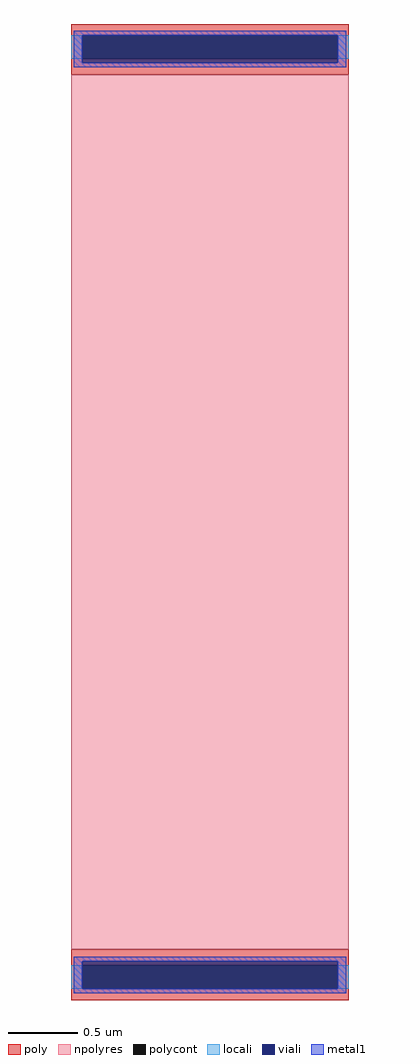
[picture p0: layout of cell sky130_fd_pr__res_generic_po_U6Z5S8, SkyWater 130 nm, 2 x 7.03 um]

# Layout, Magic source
magic
tech sky130A
magscale 1 2
<< poly >>
rect -200 687 200 703
rect -200 653 -184 687
rect 184 653 200 687
rect -200 630 200 653
rect -200 -653 200 -630
rect -200 -687 -184 -653
rect 184 -687 200 -653
rect -200 -703 200 -687
<< polycont >>
rect -184 653 184 687
rect -184 -687 184 -653
<< npolyres >>
rect -200 -630 200 630
<< locali >>
rect -200 653 -184 687
rect 184 653 200 687
rect -200 -687 -184 -653
rect 184 -687 200 -653
<< viali >>
rect -184 653 184 687
rect -184 647 184 653
rect -184 -653 184 -647
rect -184 -687 184 -653
<< metal1 >>
rect -196 687 196 693
rect -196 647 -184 687
rect 184 647 196 687
rect -196 641 196 647
rect -196 -647 196 -641
rect -196 -687 -184 -647
rect 184 -687 196 -647
rect -196 -693 196 -687
<< properties >>
string gencell sky130_fd_pr__res_generic_po
string parameters w 2 l 6.3 m 1 nx 1 wmin 0.330 lmin 1.650 rho 48.2 val 151.83 dummy 0 dw 0.0 term 0.0 sterm 0.0 caplen 0.4 snake 0 guard 0 glc 1 grc 1 gtc 1 gbc 1 roverlap 0 endcov 100 full_metal 1 hv_guard 0 n_guard 0 vias 1 viagb 0 viagt 0 viagl 0 viagr 0
string library sky130
<< end >>
